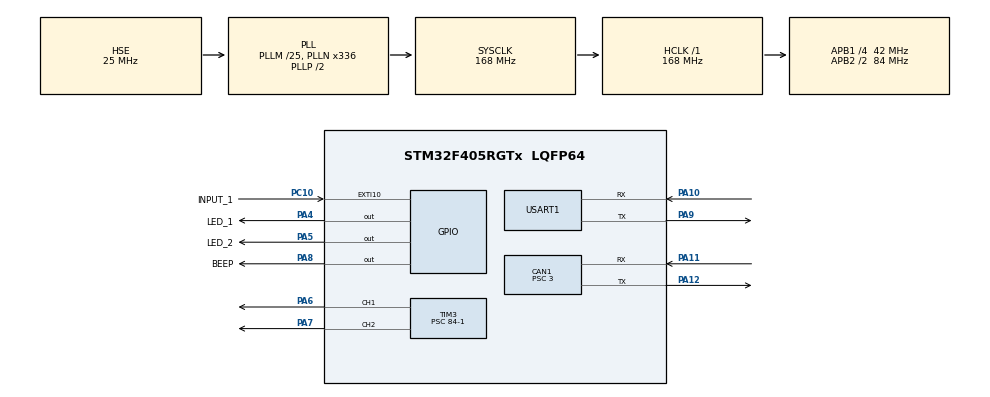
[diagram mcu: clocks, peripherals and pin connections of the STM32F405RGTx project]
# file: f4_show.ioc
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CAN1.ABOM=ENABLE
CAN1.AWUM=ENABLE
CAN1.BS1=CAN_BS1_9TQ
CAN1.BS2=CAN_BS2_4TQ
CAN1.CalculateBaudRate=1000000
CAN1.CalculateTimeBit=1000
CAN1.CalculateTimeQuantum=71.42857142857143
CAN1.NART=ENABLE
CAN1.Prescaler=3
Dma.Request0=USART1_TX
Dma.Request1=USART1_RX
Dma.USART1_RX.1.Direction=DMA_PERIPH_TO_MEMORY
Dma.USART1_RX.1.FIFOMode=DMA_FIFOMODE_DISABLE
Dma.USART1_RX.1.Instance=DMA2_Stream2
Dma.USART1_RX.1.MemDataAlignment=DMA_MDATAALIGN_BYTE
Dma.USART1_RX.1.MemInc=DMA_MINC_ENABLE
Dma.USART1_RX.1.Mode=DMA_NORMAL
Dma.USART1_RX.1.PeriphDataAlignment=DMA_PDATAALIGN_BYTE
Dma.USART1_RX.1.PeriphInc=DMA_PINC_DISABLE
Dma.USART1_RX.1.Priority=DMA_PRIORITY_LOW
Dma.USART1_TX.0.Direction=DMA_MEMORY_TO_PERIPH
Dma.USART1_TX.0.FIFOMode=DMA_FIFOMODE_DISABLE
Dma.USART1_TX.0.Instance=DMA2_Stream7
Dma.USART1_TX.0.MemDataAlignment=DMA_MDATAALIGN_BYTE
Dma.USART1_TX.0.MemInc=DMA_MINC_ENABLE
Dma.USART1_TX.0.Mode=DMA_NORMAL
Dma.USART1_TX.0.PeriphDataAlignment=DMA_PDATAALIGN_BYTE
Dma.USART1_TX.0.PeriphInc=DMA_PINC_DISABLE
Dma.USART1_TX.0.Priority=DMA_PRIORITY_LOW
FREERTOS.Tasks01=defaultTask,0,128,StartDefaultTask,Default,NULL,Dynamic,NULL,NULL;WaterLedTask,-2,128,StartWaterLedTask,Default,NULL,Dynamic,NULL,NULL;BreatheTask,0,128,StartBreatheTask,Default,NULL,Dynamic,NULL,NULL;Feedback100HzTa,1,256,StartFeedback100HzTask,Default,NULL,Dynamic,NULL,NULL;Noise500HzTask,0,128,StartNoise500HzTask,Default,NULL,Dynamic,NULL,NULL
Mcu.Family=STM32F4
Mcu.Name=STM32F405RGTx
Mcu.Package=LQFP64
NVIC.CAN1_RX0_IRQn=true\:5\:0\:true\:false\:true\:true\:true\:true\:true
NVIC.CAN1_RX1_IRQn=true\:5\:0\:true\:false\:true\:true\:true\:true\:true
NVIC.DMA2_Stream2_IRQn=true\:5\:0\:false\:false\:true\:true\:false\:true\:true
NVIC.DMA2_Stream7_IRQn=true\:5\:0\:false\:false\:true\:true\:false\:true\:true
NVIC.EXTI15_10_IRQn=true\:5\:0\:true\:false\:true\:true\:true\:true\:true
NVIC.PriorityGroup=NVIC_PRIORITYGROUP_4
NVIC.TIM2_IRQn=true\:5\:0\:true\:false\:true\:true\:true\:true\:true
NVIC.TIM7_IRQn=true\:15\:0\:false\:false\:true\:false\:false\:true\:true
NVIC.TimeBase=TIM7_IRQn
NVIC.TimeBaseIP=TIM7
NVIC.USART1_IRQn=true\:5\:0\:true\:false\:true\:true\:true\:true\:true
PA10.GPIO_PuPd=GPIO_PULLUP
PA10.Mode=Asynchronous
PA10.Signal=USART1_RX
PA11.Mode=CAN_Activate
PA11.Signal=CAN1_RX
PA12.Mode=CAN_Activate
PA12.Signal=CAN1_TX
PA13.Mode=Serial_Wire
PA13.Signal=SYS_JTMS-SWDIO
PA14.Mode=Serial_Wire
PA14.Signal=SYS_JTCK-SWCLK
PA4.GPIO_Label=LED_1
PA4.GPIO_PuPd=GPIO_PULLDOWN
PA4.Signal=GPIO_Output
PA5.GPIO_Label=LED_2
PA5.GPIO_PuPd=GPIO_PULLDOWN
PA5.Signal=GPIO_Output
PA6.Signal=S_TIM3_CH1
PA7.Signal=S_TIM3_CH2
PA8.GPIO_Label=BEEP
PA8.GPIO_PuPd=GPIO_PULLDOWN
PA8.Signal=GPIO_Output
PA9.GPIO_PuPd=GPIO_NOPULL
PA9.Mode=Asynchronous
PA9.Signal=USART1_TX
PC10.GPIO_Label=INPUT_1
PC10.GPIO_ModeDefaultEXTI=GPIO_MODE_IT_FALLING
PC10.GPIO_PuPd=GPIO_PULLUP
PC10.Signal=GPXTI10
PH0-OSC_IN.Mode=HSE-External-Oscillator
PH0-OSC_IN.Signal=RCC_OSC_IN
PH1-OSC_OUT.Mode=HSE-External-Oscillator
PH1-OSC_OUT.Signal=RCC_OSC_OUT
ProjectManager.HeapSize=0x800
ProjectManager.StackSize=0x400
ProjectManager.TargetToolchain=MDK-ARM V5.32
RCC.48MHZClocksFreq_Value=84000000
RCC.AHBFreq_Value=168000000
RCC.APB1CLKDivider=RCC_HCLK_DIV4
RCC.APB1Freq_Value=42000000
RCC.APB1TimFreq_Value=84000000
RCC.APB2CLKDivider=RCC_HCLK_DIV2
RCC.APB2Freq_Value=84000000
RCC.APB2TimFreq_Value=168000000
RCC.CortexFreq_Value=168000000
RCC.HCLKFreq_Value=168000000
RCC.HSE_VALUE=25000000
RCC.HSI_VALUE=16000000
RCC.LSE_VALUE=32768
RCC.PLLM=25
RCC.PLLN=336
RCC.PLLSourceVirtual=RCC_PLLSOURCE_HSE
RCC.SYSCLKFreq_VALUE=168000000
RCC.SYSCLKSource=RCC_SYSCLKSOURCE_PLLCLK
RCC.VCOOutputFreq_Value=336000000
SH.S_TIM3_CH1.0=TIM3_CH1,PWM Generation1 CH1
SH.S_TIM3_CH2.0=TIM3_CH2,PWM Generation2 CH2
TIM2.Period=2000-1
TIM2.Prescaler=84-1
TIM3.AutoReloadPreload=TIM_AUTORELOAD_PRELOAD_ENABLE
TIM3.Channel-PWM\ Generation1\ CH1=TIM_CHANNEL_1
TIM3.Channel-PWM\ Generation2\ CH2=TIM_CHANNEL_2
TIM3.OCFastMode_PWM-PWM\ Generation1\ CH1=TIM_OCFAST_DISABLE
TIM3.Period=1000-1
TIM3.Prescaler=84-1
USART1.VirtualMode=VM_ASYNC
VP_FREERTOS_VS_CMSIS_V1.Mode=CMSIS_V1
VP_SYS_VS_tim7.Mode=TIM7
VP_TIM2_VS_ClockSourceINT.Mode=Internal
VP_TIM3_VS_ClockSourceINT.Mode=Internal
board=custom

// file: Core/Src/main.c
/* USER CODE BEGIN Header */
/**
  ******************************************************************************
  * @file           : main.c
  * @brief          : Main program body
  ******************************************************************************
  * @attention
  *
  * Copyright (c) 2026 STMicroelectronics.
  * All rights reserved.
  *
  * This software is licensed under terms that can be found in the LICENSE file
  * in the root directory of this software component.
  * If no LICENSE file comes with this software, it is provided AS-IS.
  *
  ******************************************************************************
  */
/* USER CODE END Header */
#include "main.h"
#include "cmsis_os.h"
#include "can.h"
#include "dma.h"
#include "tim.h"
#include "usart.h"
#include "gpio.h"
#include "app_protocol.h"

/* USER CODE BEGIN Includes */
#include "Beep.h"
#include "Led.h"
#include <math.h>
#include "CAN_IRQHandler.h"
/* USER CODE END Includes */

/* USER CODE BEGIN PTD */
uint8_t pin_state = 0;
/* USER CODE END PTD */

void SystemClock_Config(void);
void MX_FREERTOS_Init(void);

int main(void)
{

  /* MCU Configuration--------------------------------------------------------*/

  /* Reset of all peripherals, Initializes the Flash interface and the Systick. */
  HAL_Init();

  /* Configure the system clock */
  SystemClock_Config();

  /* Initialize all configured peripherals */
  MX_GPIO_Init();
  MX_DMA_Init();
  MX_TIM2_Init();
  MX_TIM3_Init();
  MX_USART1_UART_Init();
  MX_CAN1_Init();
  /* USER CODE BEGIN 2 */
  Beep_Init();
  BEEP_ON();
  HAL_Delay(100);
  BEEP_OFF();
  HAL_TIM_PWM_Start(&htim3, TIM_CHANNEL_1);
  HAL_TIM_PWM_Start(&htim3, TIM_CHANNEL_2);

  /* USER CODE END 2 */

  /* Call init function for freertos objects (in cmsis_os2.c) */
  MX_FREERTOS_Init();

  /* Start scheduler */
  osKernelStart();

  /* We should never get here as control is now taken by the scheduler */

  /* Infinite loop */
  /* USER CODE BEGIN WHILE */
  while (1)
  {
		//Led_Water();
    //pin_state = HAL_GPIO_ReadPin(INPUT_1_GPIO_Port,INPUT_1_Pin);
    FSM_Process();
    VOFA_SendTask();
    if(Beep_Trigger != 0)
    {
      Beep_Alarm(Beep_Trigger);
      Beep_Trigger = 0;
		}
    /* USER CODE END WHILE */

  }
}

void SystemClock_Config(void)
{
  RCC_OscInitTypeDef RCC_OscInitStruct = {0};
  RCC_ClkInitTypeDef RCC_ClkInitStruct = {0};

  /** Configure the main internal regulator output voltage
  */
  __HAL_RCC_PWR_CLK_ENABLE();
  __HAL_PWR_VOLTAGESCALING_CONFIG(PWR_REGULATOR_VOLTAGE_SCALE1);

  /** Initializes the RCC Oscillators according to the specified parameters
  * in the RCC_OscInitTypeDef structure.
  */
  RCC_OscInitStruct.OscillatorType = RCC_OSCILLATORTYPE_HSE;
  RCC_OscInitStruct.HSEState = RCC_HSE_ON;
  RCC_OscInitStruct.PLL.PLLState = RCC_PLL_ON;
  RCC_OscInitStruct.PLL.PLLSource = RCC_PLLSOURCE_HSE;
  RCC_OscInitStruct.PLL.PLLM = 25;
  RCC_OscInitStruct.PLL.PLLN = 336;
  RCC_OscInitStruct.PLL.PLLP = RCC_PLLP_DIV2;
  RCC_OscInitStruct.PLL.PLLQ = 4;
  if (HAL_RCC_OscConfig(&RCC_OscInitStruct) != HAL_OK)
  {
    Error_Handler();
  }

  /** Initializes the CPU, AHB and APB buses clocks
  */
  RCC_ClkInitStruct.ClockType = RCC_CLOCKTYPE_HCLK|RCC_CLOCKTYPE_SYSCLK
                              |RCC_CLOCKTYPE_PCLK1|RCC_CLOCKTYPE_PCLK2;
  RCC_ClkInitStruct.SYSCLKSource = RCC_SYSCLKSOURCE_PLLCLK;
  RCC_ClkInitStruct.AHBCLKDivider = RCC_SYSCLK_DIV1;
  RCC_ClkInitStruct.APB1CLKDivider = RCC_HCLK_DIV4;
  RCC_ClkInitStruct.APB2CLKDivider = RCC_HCLK_DIV2;

  if (HAL_RCC_ClockConfig(&RCC_ClkInitStruct, FLASH_LATENCY_5) != HAL_OK)
  {
    Error_Handler();
  }
}

void HAL_TIM_PeriodElapsedCallback(TIM_HandleTypeDef *htim)
{
  if (htim->Instance == TIM7) {
    HAL_IncTick();
  }
  /* USER CODE BEGIN Callback 1 */
  //TIM_PeriodElapsedCallback(htim);
  /* USER CODE END Callback 1 */
}

void Error_Handler(void)
{
  __disable_irq();
  while (1)
  {
  }
}

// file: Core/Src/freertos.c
/* USER CODE BEGIN Header */
/**
  ******************************************************************************
  * File Name          : freertos.c
  * Description        : Code for freertos applications
  ******************************************************************************
  * @attention
  *
  * Copyright (c) 2026 STMicroelectronics.
  * All rights reserved.
  *
  * This software is licensed under terms that can be found in the LICENSE file
  * in the root directory of this software component.
  * If no LICENSE file comes with this software, it is provided AS-IS.
  *
  ******************************************************************************
  */
/* USER CODE END Header */

#include "FreeRTOS.h"
#include "task.h"
#include "main.h"
#include "cmsis_os.h"

/* USER CODE BEGIN Variables */

#include "app_protocol.h"
#include "can.h"
#include "tim.h"
#include <math.h>

// 告诉单片机：这三个变量在 CAN_IRQHandler.c 里已经存在了，直接用
extern volatile uint8_t  g_breathe_enable;
extern volatile uint16_t g_breathe_period_ms;
extern volatile uint8_t  g_beep_remaining_count;

/* USER CODE END Variables */
osThreadId defaultTaskHandle;
osThreadId WaterLedTaskHandle;
osThreadId BreatheTaskHandle;
osThreadId Feedback100HzTaHandle;
osThreadId Noise500HzTaskHandle;

void StartDefaultTask(void const * argument);
void StartWaterLedTask(void const * argument);
void StartBreatheTask(void const * argument);
void StartFeedback100HzTask(void const * argument);
void StartNoise500HzTask(void const * argument);

void MX_FREERTOS_Init(void); /* (MISRA C 2004 rule 8.1) */

/* GetIdleTaskMemory prototype (linked to static allocation support) */
void vApplicationGetIdleTaskMemory( StaticTask_t **ppxIdleTaskTCBBuffer, StackType_t **ppxIdleTaskStackBuffer, uint32_t *pulIdleTaskStackSize );

/* USER CODE BEGIN GET_IDLE_TASK_MEMORY */
static StaticTask_t xIdleTaskTCBBuffer;
static StackType_t xIdleStack[configMINIMAL_STACK_SIZE];

void vApplicationGetIdleTaskMemory( StaticTask_t **ppxIdleTaskTCBBuffer, StackType_t **ppxIdleTaskStackBuffer, uint32_t *pulIdleTaskStackSize )
{
  *ppxIdleTaskTCBBuffer = &xIdleTaskTCBBuffer;
  *ppxIdleTaskStackBuffer = &xIdleStack[0];
  *pulIdleTaskStackSize = configMINIMAL_STACK_SIZE;
  /* place for user code */
}
/* USER CODE END GET_IDLE_TASK_MEMORY */

void MX_FREERTOS_Init(void) {

  /* Create the thread(s) */
  /* definition and creation of defaultTask */
  osThreadDef(defaultTask, StartDefaultTask, osPriorityNormal, 0, 128);
  defaultTaskHandle = osThreadCreate(osThread(defaultTask), NULL);

  /* definition and creation of WaterLedTask */
  osThreadDef(WaterLedTask, StartWaterLedTask, osPriorityLow, 0, 128);
  WaterLedTaskHandle = osThreadCreate(osThread(WaterLedTask), NULL);

  /* definition and creation of BreatheTask */
  osThreadDef(BreatheTask, StartBreatheTask, osPriorityNormal, 0, 128);
  BreatheTaskHandle = osThreadCreate(osThread(BreatheTask), NULL);

  /* definition and creation of Feedback100HzTa */
  osThreadDef(Feedback100HzTa, StartFeedback100HzTask, osPriorityAboveNormal, 0, 256);
  Feedback100HzTaHandle = osThreadCreate(osThread(Feedback100HzTa), NULL);

  /* definition and creation of Noise500HzTask */
  osThreadDef(Noise500HzTask, StartNoise500HzTask, osPriorityNormal, 0, 128);
  Noise500HzTaskHandle = osThreadCreate(osThread(Noise500HzTask), NULL);

}

void StartDefaultTask(void const * argument)
{
  for(;;)
  {
    osDelay(1);
  }
}

void StartWaterLedTask(void const * argument)
{
  /* USER CODE BEGIN StartWaterLedTask */
 uint8_t led_step = 0; // 记录当前该亮哪个灯
  /* Infinite loop */
  for(;;)
  {
    // 1. 两颗流水灯状态指示
    if (led_step == 0)
    {
      HAL_GPIO_WritePin(LED_1_GPIO_Port, LED_1_Pin, GPIO_PIN_SET);   // 亮 1 号灯
      HAL_GPIO_WritePin(LED_2_GPIO_Port, LED_2_Pin, GPIO_PIN_RESET); // 灭 2 号灯
      led_step = 1;
    }
    else
    {
      HAL_GPIO_WritePin(LED_1_GPIO_Port, LED_1_Pin, GPIO_PIN_RESET); // 灭 1 号灯
      HAL_GPIO_WritePin(LED_2_GPIO_Port, LED_2_Pin, GPIO_PIN_SET);   // 亮 2 号灯
      led_step = 0;
    }

    // 2. 蜂鸣器定次鸣叫响应
    if (g_beep_remaining_count > 0)
    {
      HAL_GPIO_WritePin(BEEP_GPIO_Port, BEEP_Pin, GPIO_PIN_SET);   // 蜂鸣器响
      osDelay(100);
      HAL_GPIO_WritePin(BEEP_GPIO_Port, BEEP_Pin, GPIO_PIN_RESET); // 蜂鸣器停

      g_beep_remaining_count--;                                     // 剩余鸣叫次数减 1
      osDelay(100);                                                 // 间隔 100ms
    }
    else
    {
      // 蜂鸣器不响时，流水灯正常以 200ms 间隔交替
      osDelay(200);
    }
  }
  /* USER CODE END StartWaterLedTask */
}

void StartBreatheTask(void const * argument)
{
  /* USER CODE BEGIN StartBreatheTask */
 uint16_t pwm_val = 0;   // 当前的亮度（0 ~ 1000）
  int8_t   step_dir = 1;  // 变化方向：1 代表正在变亮，-1 代表正在变暗

  /* Infinite loop */
  for(;;)
  {
    // 1. 如果主板允许呼吸灯开启
    if (g_breathe_enable == 1)
    {
      // 计算下一步的亮度
      if (step_dir == 1) // 正在吸气（变亮）
      {
        pwm_val += 10;
        if (pwm_val >= 1000)
        {
          pwm_val = 1000;
          step_dir = -1; // 到达最亮，掉头开始变暗
        }
      }
      else // 正在呼气（变暗）
      {
        if (pwm_val <= 10)
        {
          pwm_val = 0;
          step_dir = 1;  // 到达最暗，掉头开始变亮
        }
        else
        {
          pwm_val -= 10;
        }
      }

      // 把新亮度写进硬件定时器 (PA6, PA7)
      __HAL_TIM_SET_COMPARE(&htim3, TIM_CHANNEL_1, pwm_val);
      __HAL_TIM_SET_COMPARE(&htim3, TIM_CHANNEL_2, pwm_val);

      // 根据主板下发的周期，动态计算每一步要睡多久
      uint32_t step_delay = g_breathe_period_ms / 200;
      if (step_delay < 1)
      {
        step_delay = 1; // 至少延时 1ms，防止除法除成 0
      }

      osDelay(step_delay); // 把 CPU 让出来，给其他任务运行
    }
    else
    {
      // 2. 如果主板发来指令关停呼吸灯：直接熄灭，并休眠省电
      __HAL_TIM_SET_COMPARE(&htim3, TIM_CHANNEL_1, 0);
      __HAL_TIM_SET_COMPARE(&htim3, TIM_CHANNEL_2, 0);

      osDelay(100); // 停止状态下不要写 osDelay(1)，每 100ms 检查一次开关即可（强调）
    }
  }
  /* USER CODE END StartBreatheTask */
}

void StartFeedback100HzTask(void const * argument)
{
  /* USER CODE BEGIN StartFeedback100HzTask */
 CAN_TxHeaderTypeDef tx_header;
  uint32_t tx_mailbox;
  FeedbackPacket_t packet; // 我们在 app_protocol.h 里定义好的数据包
  float angle = 0.0f;      // 用来算正弦波的角度

  //准备好 CAN 发送的信封
  tx_header.StdId = CAN_ID_SLAVE_FEEDBACK; // 标准帧 ID: 0x201
  tx_header.IDE   = CAN_ID_STD;            // 标准帧模式
  tx_header.RTR   = CAN_RTR_DATA;          // 数据帧 (不是远程请求帧)
  tx_header.DLC   = sizeof(FeedbackPacket_t); // 数据长度 (7 个字节)
  tx_header.TransmitGlobalTime = DISABLE;

  /* Infinite loop */
  for(;;)
  {
    //制造一个连续变化的 float 浮点数
    packet.data_value = 100.0f * sinf(angle);
    angle += 0.05f;
    if (angle >= 6.283185f) // 超过 2*PI (360度) 就归零重新开始
    {
      angle = 0.0f;
    }

    // 把呼吸灯当前的参数一起装进包裹，供主板打 log
    packet.period_log = (uint16_t)g_breathe_period_ms;
    packet.state_log  = (uint8_t)g_breathe_enable;

    // 检查 CAN 硬件发送邮箱，如果有空位就发出去
    if (HAL_CAN_GetTxMailboxesFreeLevel(&hcan1) > 0)
    {
      HAL_CAN_AddTxMessage(&hcan1, &tx_header, (uint8_t *)&packet, &tx_mailbox);
    }

    osDelay(10);
  }
  /* USER CODE END StartFeedback100HzTask */
}

void StartNoise500HzTask(void const * argument)
{
  /* USER CODE BEGIN StartNoise500HzTask */
 CAN_TxHeaderTypeDef tx_header;
  uint32_t tx_mailbox;

  // 准备 8 个垃圾字节（随便填什么都行，比如 0xDE, 0xAD...）
  uint8_t dummy_data[8] = {0xDE, 0xAD, 0xBE, 0xEF, 0x01, 0x02, 0x03, 0x04};

  //  准备扩展帧信封
  tx_header.ExtId = CAN_ID_NOISE_EXT; // 扩展帧 ID: 0x02010101 (定义在 app_protocol.h)
  tx_header.IDE   = CAN_ID_EXT;       // 声明这是 29 位扩展帧！
  tx_header.RTR   = CAN_RTR_DATA;     // 数据帧
  tx_header.DLC   = 8;                // 填满 8 字节
  tx_header.TransmitGlobalTime = DISABLE;

  /* Infinite loop */
  for(;;)
  {
    // 检查是否有空闲邮箱，有就往总线上狂发
    if (HAL_CAN_GetTxMailboxesFreeLevel(&hcan1) > 0)
    {
      HAL_CAN_AddTxMessage(&hcan1, &tx_header, dummy_data, &tx_mailbox);
    }
    osDelay(2);
  }
  /* USER CODE END StartNoise500HzTask */
}
